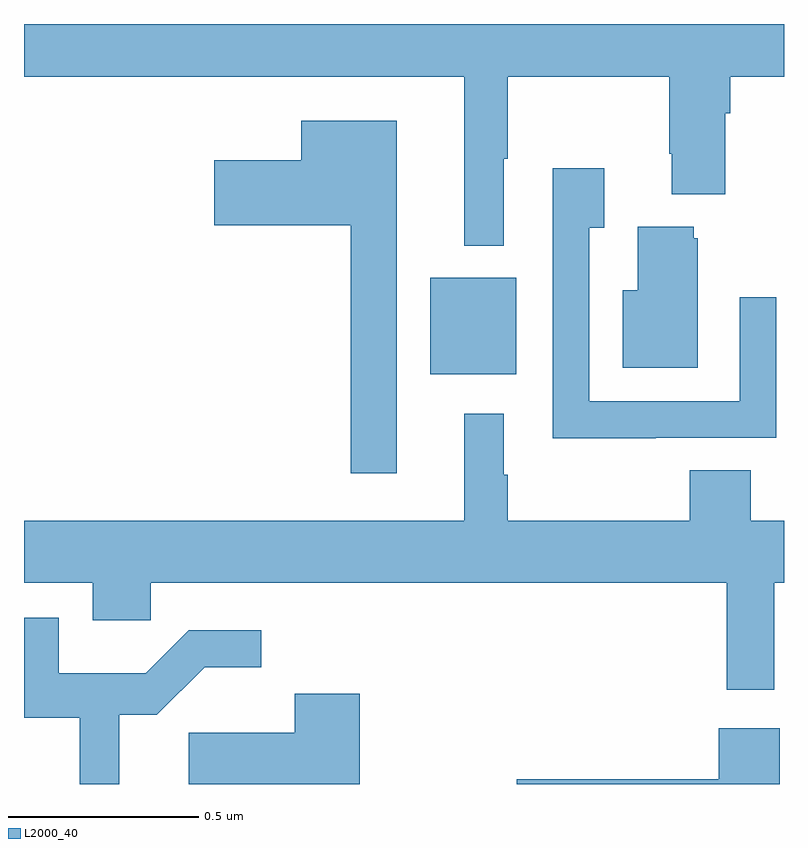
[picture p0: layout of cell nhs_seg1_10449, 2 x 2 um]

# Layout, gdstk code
import gdstk
lib = gdstk.Library(unit=1e-6, precision=1e-09)
def R(c, l, rs):  # rectangles x0, y0, x1, y1
    for r in rs: c.add(gdstk.rectangle(r[:2], r[2:], *l))
def P(c, l, *ps):  # polygons
    for p in ps: c.add(gdstk.Polygon(p, *l))
L2000_40 = (2000, 40)

nhs_seg1_10449 = lib.new_cell('nhs_seg1_10449')
R(nhs_seg1_10449, L2000_40, [(242.069,556.277,242.296,556.531)])
P(nhs_seg1_10449, L2000_40, [(242.263,556.844),(242.273,556.844),(242.273,557.06),(242.698,557.06),(242.698,556.858),(242.705,556.858),(242.705,556.751),(242.845,556.751),(242.845,556.964),(242.858,556.964),(242.858,557.06),(243,557.06),(243,557.199),(241,557.199),(241,557.06),(242.159,557.06),(242.159,556.616),(242.263,556.616)],
  [(241.981,556.945),(241.73,556.945),(241.73,556.84),(241.5,556.84),(241.5,556.67),(241.86,556.67),(241.86,556.017),(241.981,556.017)],
  [(242.663,556.11),(242.979,556.11),(242.979,556.48),(242.883,556.48),(242.883,556.206),(242.487,556.206),(242.487,556.663),(242.527,556.663),(242.527,556.819),(242.391,556.819),(242.391,556.109),(242.663,556.109)],
  [(242.773,556.635),(242.762,556.635),(242.762,556.666),(242.615,556.666),(242.615,556.498),(242.576,556.498),(242.576,556.295),(242.773,556.295)],
  [(242.974,555.728),(243,555.728),(243,555.892),(242.912,555.892),(242.912,556.025),(242.752,556.025),(242.752,555.892),(242.273,555.892),(242.273,556.013),(242.263,556.013),(242.263,556.174),(242.159,556.174),(242.159,555.892),(241,555.892),(241,555.728),(241.181,555.728),(241.181,555.63),(241.333,555.63),(241.333,555.728),(242.849,555.728),(242.849,555.447),(242.974,555.447)],
  [(241.25,555.381),(241.349,555.381),(241.475,555.506),(241.624,555.506),(241.624,555.603),(241.434,555.603),(241.321,555.49),(241.092,555.49),(241.092,555.636),(241,555.636),(241,555.373),(241.147,555.373),(241.147,555.199),(241.25,555.199)],
  [(241.883,555.436),(241.712,555.436),(241.712,555.334),(241.433,555.334),(241.433,555.199),(241.883,555.199)],
  [(242.989,555.346),(242.828,555.346),(242.828,555.212),(242.297,555.212),(242.297,555.199),(242.989,555.199)])

lib.write_gds('nhs_seg1_10449.gds')
